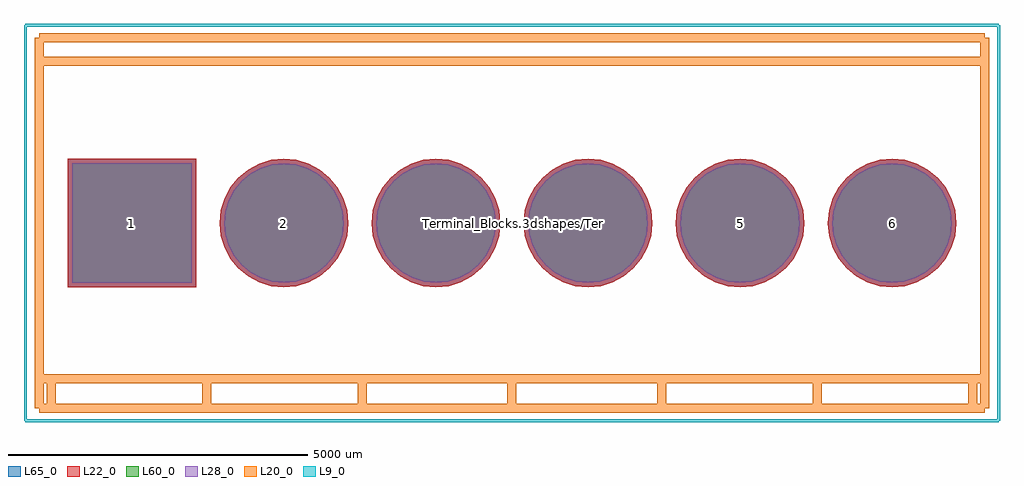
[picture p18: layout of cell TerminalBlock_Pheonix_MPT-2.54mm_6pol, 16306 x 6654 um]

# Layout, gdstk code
import gdstk
lib = gdstk.Library(unit=1e-6, precision=1e-09)
def R(c, l, rs):  # rectangles x0, y0, x1, y1
    for r in rs: c.add(gdstk.rectangle(r[:2], r[2:], *l))
def P(c, l, *ps):  # polygons
    for p in ps: c.add(gdstk.Polygon(p, *l))
L9_0 = (9, 0)
L20_0 = (20, 0)
L22_0 = (22, 0)
L28_0 = (28, 0)
L60_0 = (60, 0)
L65_0 = (65, 0)

terminalblock_pheonix_mp = lib.new_cell('TerminalBlock_Pheonix_MPT-2.54mm_6pol')
R(terminalblock_pheonix_mp, L22_0, [(-1074.49,-1074.49,1074.49,1074.49)])
P(terminalblock_pheonix_mp, L22_0, [(13774.49,0),(13753.844,209.623),(13692.699,411.19),(13593.406,596.955),(13459.779,759.779),(13296.955,893.406),(13111.19,992.699),(12909.623,1053.844),(12700,1074.49),(12490.377,1053.844),(12288.81,992.699),(12103.045,893.406),(11940.221,759.779),(11806.594,596.955),(11707.301,411.19),(11646.156,209.623),(11625.51,0),(11646.156,-209.623),(11707.301,-411.19),(11806.594,-596.955),(11940.221,-759.779),(12103.045,-893.406),(12288.81,-992.699),(12490.377,-1053.844),(12700,-1074.49),(12909.623,-1053.844),(13111.19,-992.699),(13296.955,-893.406),(13459.779,-759.779),(13593.406,-596.955),(13692.699,-411.19),(13753.844,-209.623)],
  [(11234.49,0),(11213.844,209.623),(11152.699,411.19),(11053.406,596.955),(10919.779,759.779),(10756.955,893.406),(10571.19,992.699),(10369.623,1053.844),(10160,1074.49),(9950.377,1053.844),(9748.81,992.699),(9563.045,893.406),(9400.221,759.779),(9266.594,596.955),(9167.301,411.19),(9106.156,209.623),(9085.51,0),(9106.156,-209.623),(9167.301,-411.19),(9266.594,-596.955),(9400.221,-759.779),(9563.045,-893.406),(9748.81,-992.699),(9950.377,-1053.844),(10160,-1074.49),(10369.623,-1053.844),(10571.19,-992.699),(10756.955,-893.406),(10919.779,-759.779),(11053.406,-596.955),(11152.699,-411.19),(11213.844,-209.623)],
  [(6154.49,0),(6133.844,209.623),(6072.699,411.19),(5973.406,596.955),(5839.779,759.779),(5676.955,893.406),(5491.19,992.699),(5289.623,1053.844),(5080,1074.49),(4870.377,1053.844),(4668.81,992.699),(4483.045,893.406),(4320.221,759.779),(4186.594,596.955),(4087.301,411.19),(4026.156,209.623),(4005.51,0),(4026.156,-209.623),(4087.301,-411.19),(4186.594,-596.955),(4320.221,-759.779),(4483.045,-893.406),(4668.81,-992.699),(4870.377,-1053.844),(5080,-1074.49),(5289.623,-1053.844),(5491.19,-992.699),(5676.955,-893.406),(5839.779,-759.779),(5973.406,-596.955),(6072.699,-411.19),(6133.844,-209.623)],
  [(3614.49,0),(3593.844,209.623),(3532.699,411.19),(3433.406,596.955),(3299.779,759.779),(3136.955,893.406),(2951.19,992.699),(2749.623,1053.844),(2540,1074.49),(2330.377,1053.844),(2128.81,992.699),(1943.045,893.406),(1780.221,759.779),(1646.594,596.955),(1547.301,411.19),(1486.156,209.623),(1465.51,0),(1486.156,-209.623),(1547.301,-411.19),(1646.594,-596.955),(1780.221,-759.779),(1943.045,-893.406),(2128.81,-992.699),(2330.377,-1053.844),(2540,-1074.49),(2749.623,-1053.844),(2951.19,-992.699),(3136.955,-893.406),(3299.779,-759.779),(3433.406,-596.955),(3532.699,-411.19),(3593.844,-209.623)],
  [(8694.49,0),(8673.844,209.623),(8612.699,411.19),(8513.406,596.955),(8379.779,759.779),(8216.955,893.406),(8031.19,992.699),(7829.623,1053.844),(7620,1074.49),(7410.377,1053.844),(7208.81,992.699),(7023.045,893.406),(6860.221,759.779),(6726.594,596.955),(6627.301,411.19),(6566.156,209.623),(6545.51,0),(6566.156,-209.623),(6627.301,-411.19),(6726.594,-596.955),(6860.221,-759.779),(7023.045,-893.406),(7208.81,-992.699),(7410.377,-1053.844),(7620,-1074.49),(7829.623,-1053.844),(8031.19,-992.699),(8216.955,-893.406),(8379.779,-759.779),(8513.406,-596.955),(8612.699,-411.19),(8673.844,-209.623)])
R(terminalblock_pheonix_mp, L28_0, [(-999.49,-999.49,999.49,999.49)])
P(terminalblock_pheonix_mp, L28_0, [(13699.49,0),(13680.285,194.991),(13623.408,382.488),(13531.046,555.287),(13406.746,706.746),(13255.287,831.046),(13082.488,923.408),(12894.991,980.285),(12700,999.49),(12505.009,980.285),(12317.512,923.408),(12144.713,831.046),(11993.254,706.746),(11868.954,555.287),(11776.592,382.488),(11719.715,194.991),(11700.51,0),(11719.715,-194.991),(11776.592,-382.488),(11868.954,-555.287),(11993.254,-706.746),(12144.713,-831.046),(12317.512,-923.408),(12505.009,-980.285),(12700,-999.49),(12894.991,-980.285),(13082.488,-923.408),(13255.287,-831.046),(13406.746,-706.746),(13531.046,-555.287),(13623.408,-382.488),(13680.285,-194.991)],
  [(11159.49,0),(11140.285,194.991),(11083.408,382.488),(10991.046,555.287),(10866.746,706.746),(10715.287,831.046),(10542.488,923.408),(10354.991,980.285),(10160,999.49),(9965.009,980.285),(9777.512,923.408),(9604.713,831.046),(9453.254,706.746),(9328.954,555.287),(9236.592,382.488),(9179.715,194.991),(9160.51,0),(9179.715,-194.991),(9236.592,-382.488),(9328.954,-555.287),(9453.254,-706.746),(9604.713,-831.046),(9777.512,-923.408),(9965.009,-980.285),(10160,-999.49),(10354.991,-980.285),(10542.488,-923.408),(10715.287,-831.046),(10866.746,-706.746),(10991.046,-555.287),(11083.408,-382.488),(11140.285,-194.991)],
  [(6079.49,0),(6060.285,194.991),(6003.408,382.488),(5911.046,555.287),(5786.746,706.746),(5635.287,831.046),(5462.488,923.408),(5274.991,980.285),(5080,999.49),(4885.009,980.285),(4697.512,923.408),(4524.713,831.046),(4373.254,706.746),(4248.954,555.287),(4156.592,382.488),(4099.715,194.991),(4080.51,0),(4099.715,-194.991),(4156.592,-382.488),(4248.954,-555.287),(4373.254,-706.746),(4524.713,-831.046),(4697.512,-923.408),(4885.009,-980.285),(5080,-999.49),(5274.991,-980.285),(5462.488,-923.408),(5635.287,-831.046),(5786.746,-706.746),(5911.046,-555.287),(6003.408,-382.488),(6060.285,-194.991)],
  [(3539.49,0),(3520.285,194.991),(3463.408,382.488),(3371.046,555.287),(3246.746,706.746),(3095.287,831.046),(2922.488,923.408),(2734.991,980.285),(2540,999.49),(2345.009,980.285),(2157.512,923.408),(1984.713,831.046),(1833.254,706.746),(1708.954,555.287),(1616.592,382.488),(1559.715,194.991),(1540.51,0),(1559.715,-194.991),(1616.592,-382.488),(1708.954,-555.287),(1833.254,-706.746),(1984.713,-831.046),(2157.512,-923.408),(2345.009,-980.285),(2540,-999.49),(2734.991,-980.285),(2922.488,-923.408),(3095.287,-831.046),(3246.746,-706.746),(3371.046,-555.287),(3463.408,-382.488),(3520.285,-194.991)],
  [(8619.49,0),(8600.285,194.991),(8543.408,382.488),(8451.046,555.287),(8326.746,706.746),(8175.287,831.046),(8002.488,923.408),(7814.991,980.285),(7620,999.49),(7425.009,980.285),(7237.512,923.408),(7064.713,831.046),(6913.254,706.746),(6788.954,555.287),(6696.592,382.488),(6639.715,194.991),(6620.51,0),(6639.715,-194.991),(6696.592,-382.488),(6788.954,-555.287),(6913.254,-706.746),(7064.713,-831.046),(7237.512,-923.408),(7425.009,-980.285),(7620,-999.49),(7814.991,-980.285),(8002.488,-923.408),(8175.287,-831.046),(8326.746,-706.746),(8451.046,-555.287),(8543.408,-382.488),(8600.285,-194.991)])
R(terminalblock_pheonix_mp, L60_0, [(-999.49,-999.49,999.49,999.49)])
P(terminalblock_pheonix_mp, L60_0, [(13699.49,0),(13680.285,194.991),(13623.408,382.488),(13531.046,555.287),(13406.746,706.746),(13255.287,831.046),(13082.488,923.408),(12894.991,980.285),(12700,999.49),(12505.009,980.285),(12317.512,923.408),(12144.713,831.046),(11993.254,706.746),(11868.954,555.287),(11776.592,382.488),(11719.715,194.991),(11700.51,0),(11719.715,-194.991),(11776.592,-382.488),(11868.954,-555.287),(11993.254,-706.746),(12144.713,-831.046),(12317.512,-923.408),(12505.009,-980.285),(12700,-999.49),(12894.991,-980.285),(13082.488,-923.408),(13255.287,-831.046),(13406.746,-706.746),(13531.046,-555.287),(13623.408,-382.488),(13680.285,-194.991)],
  [(11159.49,0),(11140.285,194.991),(11083.408,382.488),(10991.046,555.287),(10866.746,706.746),(10715.287,831.046),(10542.488,923.408),(10354.991,980.285),(10160,999.49),(9965.009,980.285),(9777.512,923.408),(9604.713,831.046),(9453.254,706.746),(9328.954,555.287),(9236.592,382.488),(9179.715,194.991),(9160.51,0),(9179.715,-194.991),(9236.592,-382.488),(9328.954,-555.287),(9453.254,-706.746),(9604.713,-831.046),(9777.512,-923.408),(9965.009,-980.285),(10160,-999.49),(10354.991,-980.285),(10542.488,-923.408),(10715.287,-831.046),(10866.746,-706.746),(10991.046,-555.287),(11083.408,-382.488),(11140.285,-194.991)],
  [(6079.49,0),(6060.285,194.991),(6003.408,382.488),(5911.046,555.287),(5786.746,706.746),(5635.287,831.046),(5462.488,923.408),(5274.991,980.285),(5080,999.49),(4885.009,980.285),(4697.512,923.408),(4524.713,831.046),(4373.254,706.746),(4248.954,555.287),(4156.592,382.488),(4099.715,194.991),(4080.51,0),(4099.715,-194.991),(4156.592,-382.488),(4248.954,-555.287),(4373.254,-706.746),(4524.713,-831.046),(4697.512,-923.408),(4885.009,-980.285),(5080,-999.49),(5274.991,-980.285),(5462.488,-923.408),(5635.287,-831.046),(5786.746,-706.746),(5911.046,-555.287),(6003.408,-382.488),(6060.285,-194.991)],
  [(3539.49,0),(3520.285,194.991),(3463.408,382.488),(3371.046,555.287),(3246.746,706.746),(3095.287,831.046),(2922.488,923.408),(2734.991,980.285),(2540,999.49),(2345.009,980.285),(2157.512,923.408),(1984.713,831.046),(1833.254,706.746),(1708.954,555.287),(1616.592,382.488),(1559.715,194.991),(1540.51,0),(1559.715,-194.991),(1616.592,-382.488),(1708.954,-555.287),(1833.254,-706.746),(1984.713,-831.046),(2157.512,-923.408),(2345.009,-980.285),(2540,-999.49),(2734.991,-980.285),(2922.488,-923.408),(3095.287,-831.046),(3246.746,-706.746),(3371.046,-555.287),(3463.408,-382.488),(3520.285,-194.991)],
  [(8619.49,0),(8600.285,194.991),(8543.408,382.488),(8451.046,555.287),(8326.746,706.746),(8175.287,831.046),(8002.488,923.408),(7814.991,980.285),(7620,999.49),(7425.009,980.285),(7237.512,923.408),(7064.713,831.046),(6913.254,706.746),(6788.954,555.287),(6696.592,382.488),(6639.715,194.991),(6620.51,0),(6639.715,-194.991),(6696.592,-382.488),(6788.954,-555.287),(6913.254,-706.746),(7064.713,-831.046),(7237.512,-923.408),(7425.009,-980.285),(7620,-999.49),(7814.991,-980.285),(8002.488,-923.408),(8175.287,-831.046),(8326.746,-706.746),(8451.046,-555.287),(8543.408,-382.488),(8600.285,-194.991)])
R(terminalblock_pheonix_mp, L65_0, [(-1074.49,-1074.49,1074.49,1074.49)])
P(terminalblock_pheonix_mp, L65_0, [(13774.49,0),(13753.844,209.623),(13692.699,411.19),(13593.406,596.955),(13459.779,759.779),(13296.955,893.406),(13111.19,992.699),(12909.623,1053.844),(12700,1074.49),(12490.377,1053.844),(12288.81,992.699),(12103.045,893.406),(11940.221,759.779),(11806.594,596.955),(11707.301,411.19),(11646.156,209.623),(11625.51,0),(11646.156,-209.623),(11707.301,-411.19),(11806.594,-596.955),(11940.221,-759.779),(12103.045,-893.406),(12288.81,-992.699),(12490.377,-1053.844),(12700,-1074.49),(12909.623,-1053.844),(13111.19,-992.699),(13296.955,-893.406),(13459.779,-759.779),(13593.406,-596.955),(13692.699,-411.19),(13753.844,-209.623)],
  [(11234.49,0),(11213.844,209.623),(11152.699,411.19),(11053.406,596.955),(10919.779,759.779),(10756.955,893.406),(10571.19,992.699),(10369.623,1053.844),(10160,1074.49),(9950.377,1053.844),(9748.81,992.699),(9563.045,893.406),(9400.221,759.779),(9266.594,596.955),(9167.301,411.19),(9106.156,209.623),(9085.51,0),(9106.156,-209.623),(9167.301,-411.19),(9266.594,-596.955),(9400.221,-759.779),(9563.045,-893.406),(9748.81,-992.699),(9950.377,-1053.844),(10160,-1074.49),(10369.623,-1053.844),(10571.19,-992.699),(10756.955,-893.406),(10919.779,-759.779),(11053.406,-596.955),(11152.699,-411.19),(11213.844,-209.623)],
  [(6154.49,0),(6133.844,209.623),(6072.699,411.19),(5973.406,596.955),(5839.779,759.779),(5676.955,893.406),(5491.19,992.699),(5289.623,1053.844),(5080,1074.49),(4870.377,1053.844),(4668.81,992.699),(4483.045,893.406),(4320.221,759.779),(4186.594,596.955),(4087.301,411.19),(4026.156,209.623),(4005.51,0),(4026.156,-209.623),(4087.301,-411.19),(4186.594,-596.955),(4320.221,-759.779),(4483.045,-893.406),(4668.81,-992.699),(4870.377,-1053.844),(5080,-1074.49),(5289.623,-1053.844),(5491.19,-992.699),(5676.955,-893.406),(5839.779,-759.779),(5973.406,-596.955),(6072.699,-411.19),(6133.844,-209.623)],
  [(3614.49,0),(3593.844,209.623),(3532.699,411.19),(3433.406,596.955),(3299.779,759.779),(3136.955,893.406),(2951.19,992.699),(2749.623,1053.844),(2540,1074.49),(2330.377,1053.844),(2128.81,992.699),(1943.045,893.406),(1780.221,759.779),(1646.594,596.955),(1547.301,411.19),(1486.156,209.623),(1465.51,0),(1486.156,-209.623),(1547.301,-411.19),(1646.594,-596.955),(1780.221,-759.779),(1943.045,-893.406),(2128.81,-992.699),(2330.377,-1053.844),(2540,-1074.49),(2749.623,-1053.844),(2951.19,-992.699),(3136.955,-893.406),(3299.779,-759.779),(3433.406,-596.955),(3532.699,-411.19),(3593.844,-209.623)],
  [(8694.49,0),(8673.844,209.623),(8612.699,411.19),(8513.406,596.955),(8379.779,759.779),(8216.955,893.406),(8031.19,992.699),(7829.623,1053.844),(7620,1074.49),(7410.377,1053.844),(7208.81,992.699),(7023.045,893.406),(6860.221,759.779),(6726.594,596.955),(6627.301,411.19),(6566.156,209.623),(6545.51,0),(6566.156,-209.623),(6627.301,-411.19),(6726.594,-596.955),(6860.221,-759.779),(7023.045,-893.406),(7208.81,-992.699),(7410.377,-1053.844),(7620,-1074.49),(7829.623,-1053.844),(8031.19,-992.699),(8216.955,-893.406),(8379.779,-759.779),(8513.406,-596.955),(8612.699,-411.19),(8673.844,-209.623)])
terminalblock_pheonix_mp.add(gdstk.FlexPath([(-1544.32,3098.8),(-1544.32,-3098.8)], 149.998, ends="flush", simple_path=True, layer=20, datatype=0))  # L20_0
terminalblock_pheonix_mp.add(gdstk.FlexPath([(14244.32,-3098.8),(14244.32,3098.8)], 149.998, ends="flush", simple_path=True, layer=20, datatype=0))  # L20_0
terminalblock_pheonix_mp.add(gdstk.FlexPath([(1252.22,-3098.8),(1252.22,-2600.96)], 149.998, ends="flush", simple_path=True, layer=20, datatype=0))  # L20_0
terminalblock_pheonix_mp.add(gdstk.FlexPath([(14046.2,-2600.96),(14046.2,-3098.8)], 149.998, ends="flush", simple_path=True, layer=20, datatype=0))  # L20_0
terminalblock_pheonix_mp.add(gdstk.FlexPath([(-1346.2,-3098.8),(-1346.2,-2600.96)], 149.998, ends="flush", simple_path=True, layer=20, datatype=0))  # L20_0
terminalblock_pheonix_mp.add(gdstk.FlexPath([(3850.64,-2600.96),(3850.64,-3098.8)], 149.998, ends="flush", simple_path=True, layer=20, datatype=0))  # L20_0
terminalblock_pheonix_mp.add(gdstk.FlexPath([(6347.46,-2600.96),(6347.46,-3098.8)], 149.998, ends="flush", simple_path=True, layer=20, datatype=0))  # L20_0
terminalblock_pheonix_mp.add(gdstk.FlexPath([(8849.36,-2600.96),(8849.36,-3098.8)], 149.998, ends="flush", simple_path=True, layer=20, datatype=0))  # L20_0
terminalblock_pheonix_mp.add(gdstk.FlexPath([(11450.32,-2600.96),(11450.32,-3098.8)], 149.998, ends="flush", simple_path=True, layer=20, datatype=0))  # L20_0
terminalblock_pheonix_mp.add(gdstk.FlexPath([(14249.4,-2600.96),(-1549.4,-2600.96)], 149.998, ends="flush", simple_path=True, layer=20, datatype=0))  # L20_0
terminalblock_pheonix_mp.add(gdstk.FlexPath([(-1549.4,-3098.8),(14249.4,-3098.8)], 149.998, ends="flush", simple_path=True, layer=20, datatype=0))  # L20_0
terminalblock_pheonix_mp.add(gdstk.FlexPath([(14249.4,2700.02),(-1549.4,2700.02)], 149.998, ends="flush", simple_path=True, layer=20, datatype=0))  # L20_0
terminalblock_pheonix_mp.add(gdstk.FlexPath([(14249.4,3098.8),(-1549.4,3098.8)], 149.998, ends="flush", simple_path=True, layer=20, datatype=0))  # L20_0
terminalblock_pheonix_mp.add(gdstk.FlexPath([(14478,3302),(14478,-3302)], 50, ends="flush", simple_path=True, layer=9, datatype=0))  # L9_0
terminalblock_pheonix_mp.add(gdstk.FlexPath([(14478,-3302),(-1778,-3302)], 50, ends="flush", simple_path=True, layer=9, datatype=0))  # L9_0
terminalblock_pheonix_mp.add(gdstk.FlexPath([(-1778,-3302),(-1778,3302)], 50, ends="flush", simple_path=True, layer=9, datatype=0))  # L9_0
terminalblock_pheonix_mp.add(gdstk.FlexPath([(-1778,3302),(14478,3302)], 50, ends="flush", simple_path=True, layer=9, datatype=0))  # L9_0
terminalblock_pheonix_mp.add(gdstk.Label('Terminal_Blocks.3dshapes/TerminalBlock_Pheonix_MPT-2.54mm_6pol.wrl', (6350,0), layer=12, texttype=0))
terminalblock_pheonix_mp.add(gdstk.Label('6', (12700,0), layer=28, texttype=0))
terminalblock_pheonix_mp.add(gdstk.Label('5', (10160,0), layer=28, texttype=0))
terminalblock_pheonix_mp.add(gdstk.Label('3', (5080,0), layer=28, texttype=0))
terminalblock_pheonix_mp.add(gdstk.Label('2', (2540,0), layer=28, texttype=0))
terminalblock_pheonix_mp.add(gdstk.Label('1', (0,0), layer=28, texttype=0))
terminalblock_pheonix_mp.add(gdstk.Label('4', (7620,0), layer=28, texttype=0))
terminalblock_pheonix_mp.add(gdstk.Label('type', (6350,-4500.88), layer=9, texttype=0))
terminalblock_pheonix_mp.add(gdstk.Label('devicename', (6350,4500.88), layer=9, texttype=0))

lib.write_gds('TerminalBlock_Pheonix_MPT-2.54mm_6pol.gds')
